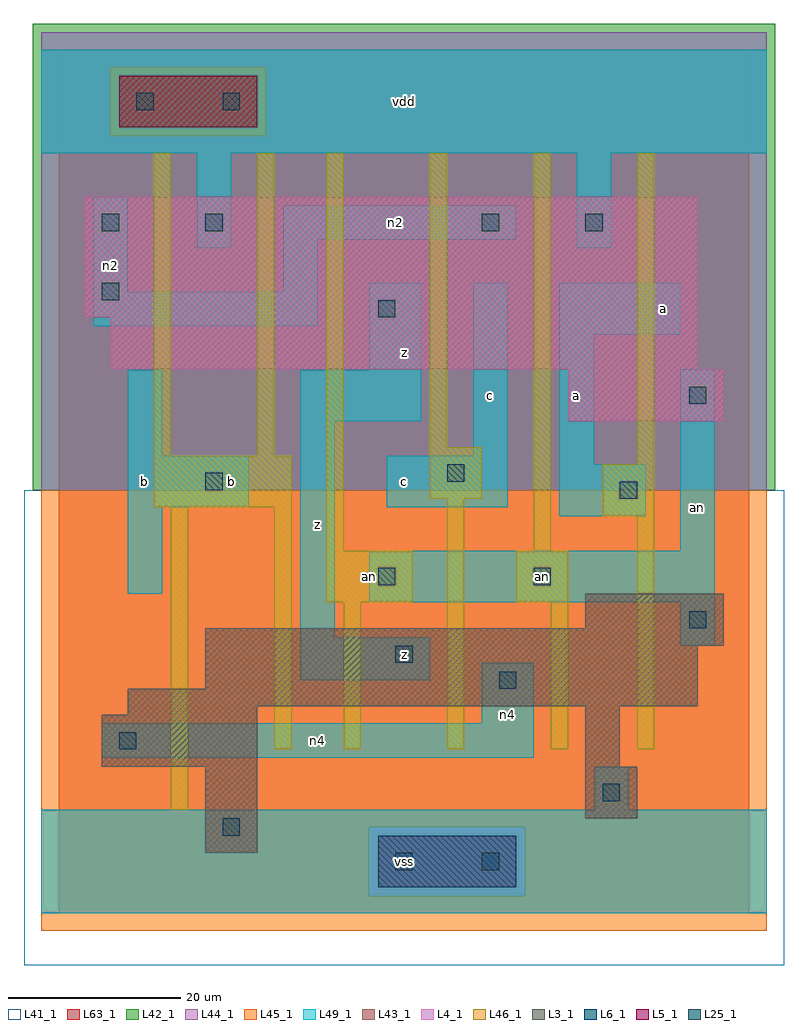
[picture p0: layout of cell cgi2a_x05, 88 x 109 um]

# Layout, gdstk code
import gdstk
lib = gdstk.Library(unit=1e-6, precision=1e-09)
def R(c, l, rs):  # rectangles x0, y0, x1, y1
    for r in rs: c.add(gdstk.rectangle(r[:2], r[2:], *l))
L3_1 = (3, 1)
L4_1 = (4, 1)
L5_1 = (5, 1)
L6_1 = (6, 1)
L25_1 = (25, 1)
L41_1 = (41, 1)
L42_1 = (42, 1)
L43_1 = (43, 1)
L44_1 = (44, 1)
L45_1 = (45, 1)
L46_1 = (46, 1)
L49_1 = (49, 1)
L63_1 = (63, 1)

cgi2a_x05 = lib.new_cell('cgi2a_x05')
R(cgi2a_x05, L3_1, [(17,7,23,17), (61,11,67,17), (5,17,23,23), (61,17,65,24), (8,23,23,24), (8,24,74,26), (17,26,74,31), (17,31,77,33), (61,33,77,37)])
R(cgi2a_x05, L4_1, [(59,57,77,63), (6,63,74,69), (3,69,74,83)])
R(cgi2a_x05, L5_1, [(7,91,23,97)])
R(cgi2a_x05, L6_1, [(37,3,53,9)])
R(cgi2a_x05, L25_1, [(39,5,41,7), (49,5,51,7), (19,9,21,11), (63,13,65,15), (7,19,9,21), (51,26,53,28), (39,29,41,31), (73,33,75,35), (37,38,39,40), (55,38,57,40), (65,48,67,50), (17,49,19,51), (45,50,47,52), (73,59,75,61), (37,69,39,71), (5,71,7,73), (5,79,7,81), (17,79,19,81), (49,79,51,81), (61,79,63,81), (9,93,11,95), (19,93,21,95)])
R(cgi2a_x05, L41_1, [(-4,-6,84,49), (-3,-3,83,49)])
R(cgi2a_x05, L42_1, [(-3,49,83,103)])
R(cgi2a_x05, L43_1, [(37,3,53,9), (17,7,23,17), (61,11,67,17), (5,17,23,23), (61,17,65,24), (8,23,23,24), (8,24,74,26), (17,26,74,31), (17,31,77,33), (61,33,77,37), (59,57,77,63), (6,63,74,69), (3,69,74,83), (7,91,23,97)])
R(cgi2a_x05, L44_1, [(36,2,54,10), (-2,49,82,90), (-2,90,6,98), (24,90,82,98), (-2,98,82,102)])
R(cgi2a_x05, L45_1, [(-2,-2,82,2), (-2,2,36,10), (54,2,82,10), (-2,10,82,49), (6,90,24,98)])
R(cgi2a_x05, L46_1, [(13,12,15,47), (25,19,27,47), (33,19,35,36), (45,19,47,48), (57,19,59,36), (67,19,69,46), (31,36,41,42), (53,36,59,42), (31,42,33,88), (55,42,57,88), (63,46,69,52), (11,47,27,53), (43,48,49,54), (67,52,69,88), (11,53,13,88), (23,53,25,88), (43,54,45,88)])
R(cgi2a_x05, L49_1, [(-2,0,82,12), (62,12,66,17), (5,18,55,22), (49,22,55,29), (28,27,43,32), (72,31,76,36), (28,32,32,57), (36,36,76,42), (8,37,12,47), (72,42,76,63), (58,46,68,52), (8,47,22,53), (38,47,52,53), (58,52,62,67), (8,53,12,63), (48,53,52,73), (28,57,42,63), (36,63,42,73), (58,67,72,73), (4,68,30,72), (4,72,8,83), (26,72,30,78), (16,77,20,88), (60,77,64,88), (26,78,53,82), (-2,88,82,100)])
R(cgi2a_x05, L63_1, [(0,0,80,100)])
cgi2a_x05.add(gdstk.Label('an', (36,39), layer=46, texttype=1))
cgi2a_x05.add(gdstk.Label('an', (56,39), layer=49, texttype=1))
cgi2a_x05.add(gdstk.Label('b', (10,50), layer=49, texttype=1))
cgi2a_x05.add(gdstk.Label('b', (10,50), layer=49, texttype=1))
cgi2a_x05.add(gdstk.Label('n2', (6,75), layer=49, texttype=1))
cgi2a_x05.add(gdstk.Label('b', (20,50), layer=49, texttype=1))
cgi2a_x05.add(gdstk.Label('b', (20,50), layer=49, texttype=1))
cgi2a_x05.add(gdstk.Label('vss', (40,6), layer=49, texttype=1))
cgi2a_x05.add(gdstk.Label('vss', (40,6), layer=49, texttype=1))
cgi2a_x05.add(gdstk.Label('z', (40,30), layer=49, texttype=1))
cgi2a_x05.add(gdstk.Label('z', (40,30), layer=49, texttype=1))
cgi2a_x05.add(gdstk.Label('z', (30,45), layer=49, texttype=1))
cgi2a_x05.add(gdstk.Label('z', (30,45), layer=49, texttype=1))
cgi2a_x05.add(gdstk.Label('c', (40,50), layer=49, texttype=1))
cgi2a_x05.add(gdstk.Label('c', (40,50), layer=49, texttype=1))
cgi2a_x05.add(gdstk.Label('z', (40,65), layer=49, texttype=1))
cgi2a_x05.add(gdstk.Label('z', (40,65), layer=49, texttype=1))
cgi2a_x05.add(gdstk.Label('vdd', (40,94), layer=49, texttype=1))
cgi2a_x05.add(gdstk.Label('vdd', (40,94), layer=49, texttype=1))
cgi2a_x05.add(gdstk.Label('n4', (52,23), layer=49, texttype=1))
cgi2a_x05.add(gdstk.Label('n4', (30,20), layer=49, texttype=1))
cgi2a_x05.add(gdstk.Label('a', (60,60), layer=49, texttype=1))
cgi2a_x05.add(gdstk.Label('a', (60,60), layer=49, texttype=1))
cgi2a_x05.add(gdstk.Label('c', (50,60), layer=49, texttype=1))
cgi2a_x05.add(gdstk.Label('c', (50,60), layer=49, texttype=1))
cgi2a_x05.add(gdstk.Label('n2', (39,80), layer=49, texttype=1))
cgi2a_x05.add(gdstk.Label('an', (56,39), layer=49, texttype=1))
cgi2a_x05.add(gdstk.Label('an', (74,47), layer=49, texttype=1))
cgi2a_x05.add(gdstk.Label('a', (70,70), layer=49, texttype=1))
cgi2a_x05.add(gdstk.Label('a', (70,70), layer=49, texttype=1))

lib.write_gds('cgi2a_x05.gds')
